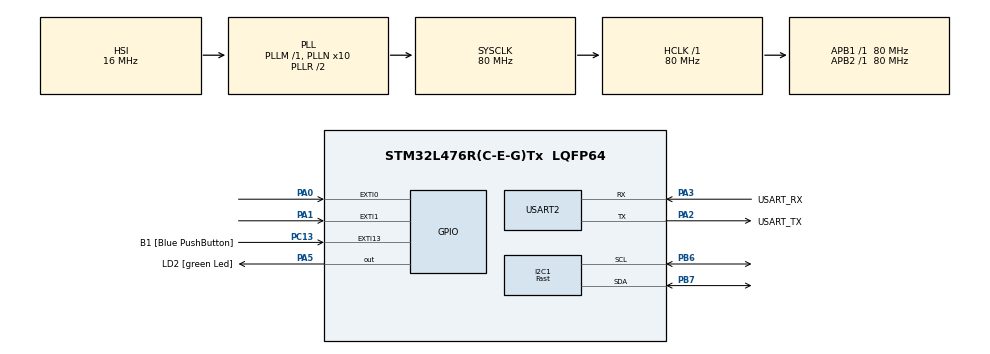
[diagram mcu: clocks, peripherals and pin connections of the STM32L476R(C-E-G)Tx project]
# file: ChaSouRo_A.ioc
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FREERTOS.Tasks01=Task1,0,128,StartTask1,Default,NULL,Dynamic,NULL,NULL;Task2,-3,128,StartTask2,Default,NULL,Dynamic,NULL,NULL
FREERTOS.configTOTAL_HEAP_SIZE=21000
I2C1.I2C_Speed_Mode=I2C_Fast
I2C1.Timing=0x00F12981
Mcu.Family=STM32L4
Mcu.Name=STM32L476R(C-E-G)Tx
Mcu.Package=LQFP64
NVIC.PriorityGroup=NVIC_PRIORITYGROUP_4
PA0.Signal=GPXTI0
PA1.Signal=GPXTI1
PA13\ (JTMS-SWDIO).GPIO_Label=TMS
PA13\ (JTMS-SWDIO).Mode=Serial_Wire
PA13\ (JTMS-SWDIO).Signal=SYS_JTMS-SWDIO
PA14\ (JTCK-SWCLK).GPIO_Label=TCK
PA14\ (JTCK-SWCLK).Mode=Serial_Wire
PA14\ (JTCK-SWCLK).Signal=SYS_JTCK-SWCLK
PA2.GPIO_Label=USART_TX
PA2.GPIO_Mode=GPIO_MODE_AF_PP
PA2.GPIO_PuPd=GPIO_NOPULL
PA2.GPIO_Speed=GPIO_SPEED_FREQ_VERY_HIGH
PA2.Mode=Asynchronous
PA2.Signal=USART2_TX
PA3.GPIO_Label=USART_RX
PA3.GPIO_Mode=GPIO_MODE_AF_PP
PA3.GPIO_PuPd=GPIO_NOPULL
PA3.GPIO_Speed=GPIO_SPEED_FREQ_VERY_HIGH
PA3.Mode=Asynchronous
PA3.Signal=USART2_RX
PA5.GPIO_Label=LD2 [green Led]
PA5.GPIO_ModeDefaultOutputPP=GPIO_MODE_OUTPUT_PP
PA5.GPIO_PuPd=GPIO_NOPULL
PA5.GPIO_Speed=GPIO_SPEED_FREQ_LOW
PA5.Signal=GPIO_Output
PB3\ (JTDO-TRACESWO).GPIO_Label=SWO
PB3\ (JTDO-TRACESWO).Signal=SYS_JTDO-SWO
PB6.GPIO_Pu=GPIO_PULLUP
PB6.Mode=I2C
PB6.Signal=I2C1_SCL
PB7.GPIO_Pu=GPIO_PULLUP
PB7.Mode=I2C
PB7.Signal=I2C1_SDA
PC13.GPIO_Label=B1 [Blue PushButton]
PC13.GPIO_ModeDefaultEXTI=GPIO_MODE_IT_FALLING
PC13.GPIO_PuPd=GPIO_NOPULL
PC13.Signal=GPXTI13
PC14-OSC32_IN\ (PC14).Mode=LSE-External-Oscillator
PC14-OSC32_IN\ (PC14).Signal=RCC_OSC32_IN
PC15-OSC32_OUT\ (PC15).Mode=LSE-External-Oscillator
PC15-OSC32_OUT\ (PC15).Signal=RCC_OSC32_OUT
PH0-OSC_IN\ (PH0).Signal=RCC_OSC_IN
PH1-OSC_OUT\ (PH1).Signal=RCC_OSC_OUT
ProjectManager.HeapSize=0x200
ProjectManager.StackSize=0x400
ProjectManager.TargetToolchain=STM32CubeIDE
RCC.ADCFreq_Value=64000000
RCC.AHBFreq_Value=80000000
RCC.APB1Freq_Value=80000000
RCC.APB1TimFreq_Value=80000000
RCC.APB2Freq_Value=80000000
RCC.APB2TimFreq_Value=80000000
RCC.CortexFreq_Value=80000000
RCC.HCLKFreq_Value=80000000
RCC.HSE_VALUE=8000000
RCC.HSI_VALUE=16000000
RCC.MSI_VALUE=4000000
RCC.PLLN=10
RCC.PLLSourceVirtual=RCC_PLLSOURCE_HSI
RCC.PREFETCH_ENABLE=1
RCC.SYSCLKFreq_VALUE=80000000
RCC.SYSCLKSource=RCC_SYSCLKSOURCE_PLLCLK
RCC.USBFreq_Value=64000000
RCC.VCOOutputFreq_Value=160000000
USART2.VirtualMode-Asynchronous=VM_ASYNC
VP_FREERTOS_VS_CMSIS_V1.Mode=CMSIS_V1
VP_TIM2_VS_ClockSourceINT.Mode=Internal
board=NUCLEO-L476RG

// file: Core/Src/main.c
/* USER CODE BEGIN Header */
/**
 ******************************************************************************
 * @file           : main.c
 * @brief          : Main program body
 ******************************************************************************
 * @attention
 *
 * Copyright (c) 2025 STMicroelectronics.
 * All rights reserved.
 *
 * This software is licensed under terms that can be found in the LICENSE file
 * in the root directory of this software component.
 * If no LICENSE file comes with this software, it is provided AS-IS.
 *
 ******************************************************************************
 */
/* USER CODE END Header */

#include "main.h"
#include "cmsis_os.h"
#include "i2c.h"
#include "tim.h"
#include "usart.h"
#include "gpio.h"

/* USER CODE BEGIN Includes */
#include "adxl345.h"
#include <stdio.h>
/* USER CODE END Includes */

/* USER CODE BEGIN PV */
ADXL345_HandleTypeDef hadxl;
/* USER CODE END PV */

void SystemClock_Config(void);
void MX_FREERTOS_Init(void);

/* USER CODE BEGIN PFP */

/* Redirection printf → UART2 */
int __io_putchar(int ch) {
    HAL_UART_Transmit(&huart2, (uint8_t *)&ch, 1, HAL_MAX_DELAY);
    return ch;
}

/* USER CODE END PFP */

int main(void)
{

  /* MCU Configuration--------------------------------------------------------*/
  HAL_Init();

  /* Configure the system clock */
  SystemClock_Config();

  /* Initialize all configured peripherals */
  MX_GPIO_Init();
  MX_USART2_UART_Init();
  MX_I2C1_Init();
  MX_TIM2_Init();

  /* USER CODE BEGIN 2 */
  printf("\r\n=========================================\r\n");
  printf("   Démarrage système FreeRTOS + ADXL345   \r\n");
  printf("=========================================\r\n\r\n");

  /* --- Initialisation capteur ADXL345 --- */
  if (ADXL345_Init(&hadxl, &hi2c1) != HAL_OK) {
      printf("Erreur : ADXL345 introuvable !\r\n");
      Error_Handler();
  }

  printf("ADXL345 détecté et initialisé.\r\n");

  /* --- Démarrage des tâches FreeRTOS du driver --- */
  ADXL345_StartTasks(&hadxl);

  vTaskStartScheduler();
  /* USER CODE END 2 */

  /* Init FreeRTOS (généré par CubeMX) */
  MX_FREERTOS_Init();

  /* Start scheduler */
  osKernelStart();

  /* USER CODE BEGIN 3 */
  while (1)
  {
      // Ne devrait jamais s’exécuter
  }
  /* USER CODE END 3 */
}

void SystemClock_Config(void)
{
  RCC_OscInitTypeDef RCC_OscInitStruct = {0};
  RCC_ClkInitTypeDef RCC_ClkInitStruct = {0};

  /** Configure the main internal regulator output voltage
  */
  if (HAL_PWREx_ControlVoltageScaling(PWR_REGULATOR_VOLTAGE_SCALE1) != HAL_OK)
  {
    Error_Handler();
  }

  /** Initializes the RCC Oscillators according to the specified parameters
  * in the RCC_OscInitTypeDef structure.
  */
  RCC_OscInitStruct.OscillatorType = RCC_OSCILLATORTYPE_HSI;
  RCC_OscInitStruct.HSIState = RCC_HSI_ON;
  RCC_OscInitStruct.HSICalibrationValue = RCC_HSICALIBRATION_DEFAULT;
  RCC_OscInitStruct.PLL.PLLState = RCC_PLL_ON;
  RCC_OscInitStruct.PLL.PLLSource = RCC_PLLSOURCE_HSI;
  RCC_OscInitStruct.PLL.PLLM = 1;
  RCC_OscInitStruct.PLL.PLLN = 10;
  RCC_OscInitStruct.PLL.PLLP = RCC_PLLP_DIV7;
  RCC_OscInitStruct.PLL.PLLQ = RCC_PLLQ_DIV2;
  RCC_OscInitStruct.PLL.PLLR = RCC_PLLR_DIV2;
  if (HAL_RCC_OscConfig(&RCC_OscInitStruct) != HAL_OK)
  {
    Error_Handler();
  }

  /** Initializes the CPU, AHB and APB buses clocks
  */
  RCC_ClkInitStruct.ClockType = RCC_CLOCKTYPE_HCLK | RCC_CLOCKTYPE_SYSCLK |
                                RCC_CLOCKTYPE_PCLK1 | RCC_CLOCKTYPE_PCLK2;
  RCC_ClkInitStruct.SYSCLKSource = RCC_SYSCLKSOURCE_PLLCLK;
  RCC_ClkInitStruct.AHBCLKDivider = RCC_SYSCLK_DIV1;
  RCC_ClkInitStruct.APB1CLKDivider = RCC_HCLK_DIV1;
  RCC_ClkInitStruct.APB2CLKDivider = RCC_HCLK_DIV1;

  if (HAL_RCC_ClockConfig(&RCC_ClkInitStruct, FLASH_LATENCY_4) != HAL_OK)
  {
    Error_Handler();
  }
}

void Error_Handler(void)
{
  /* USER CODE BEGIN Error_Handler_Debug */
  __disable_irq();

  printf("\r\n ERREUR FATALE — arrêt du système\r\n");

  while (1)
  {
    HAL_GPIO_TogglePin(LD2_GPIO_Port, LD2_Pin);
    HAL_Delay(300);
  }
  /* USER CODE END Error_Handler_Debug */
}

#ifdef USE_FULL_ASSERT
/**
  * @brief  Reports the name of the source file and line number where assert_param error occurred.
  * @retval None
  */
void assert_failed(uint8_t *file, uint32_t line)
{
  /* USER CODE BEGIN 6 */
  printf("Assert failed: file %s, line %lu\r\n", file, line);
  /* USER CODE END 6 */
}
#endif /* USE_FULL_ASSERT */

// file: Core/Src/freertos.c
/* USER CODE BEGIN Header */
/**
  ******************************************************************************
  * File Name          : freertos.c
  * Description        : Code for freertos applications
  ******************************************************************************
  * @attention
  *
  * Copyright (c) 2025 STMicroelectronics.
  * All rights reserved.
  *
  * This software is licensed under terms that can be found in the LICENSE file
  * in the root directory of this software component.
  * If no LICENSE file comes with this software, it is provided AS-IS.
  *
  ******************************************************************************
  */
/* USER CODE END Header */

#include "FreeRTOS.h"
#include "task.h"
#include "main.h"
#include "cmsis_os.h"

osThreadId Task1Handle;
osThreadId Task2Handle;

void StartTask1(void const * argument);
void StartTask2(void const * argument);

void MX_FREERTOS_Init(void); /* (MISRA C 2004 rule 8.1) */

/* GetIdleTaskMemory prototype (linked to static allocation support) */
void vApplicationGetIdleTaskMemory( StaticTask_t **ppxIdleTaskTCBBuffer, StackType_t **ppxIdleTaskStackBuffer, uint32_t *pulIdleTaskStackSize );

/* USER CODE BEGIN GET_IDLE_TASK_MEMORY */
static StaticTask_t xIdleTaskTCBBuffer;
static StackType_t xIdleStack[configMINIMAL_STACK_SIZE];

void vApplicationGetIdleTaskMemory( StaticTask_t **ppxIdleTaskTCBBuffer, StackType_t **ppxIdleTaskStackBuffer, uint32_t *pulIdleTaskStackSize )
{
  *ppxIdleTaskTCBBuffer = &xIdleTaskTCBBuffer;
  *ppxIdleTaskStackBuffer = &xIdleStack[0];
  *pulIdleTaskStackSize = configMINIMAL_STACK_SIZE;
  /* place for user code */
}
/* USER CODE END GET_IDLE_TASK_MEMORY */

void MX_FREERTOS_Init(void) {

  /* Create the thread(s) */
  /* definition and creation of Task1 */
  osThreadDef(Task1, StartTask1, osPriorityNormal, 0, 128);
  Task1Handle = osThreadCreate(osThread(Task1), NULL);

  /* definition and creation of Task2 */
  osThreadDef(Task2, StartTask2, osPriorityIdle, 0, 128);
  Task2Handle = osThreadCreate(osThread(Task2), NULL);

}

void StartTask1(void const * argument)
{
  for(;;)
  {
    osDelay(1);
  }
}

void StartTask2(void const * argument)
{
  for(;;)
  {
    osDelay(1);
  }
}
